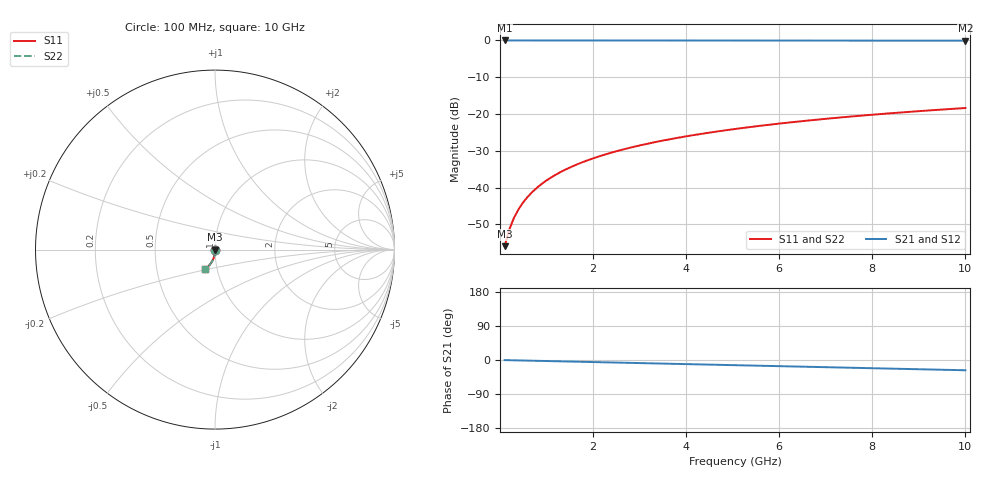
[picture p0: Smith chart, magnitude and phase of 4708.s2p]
# Hz S RI R 50.00
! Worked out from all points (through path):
!   100 points, 100 MHz to 10 GHz, reference 50 ohm
!   highest |S21| = -0.01 dB at 100 MHz (marker M1); lowest = -0.1 dB at 10 GHz (marker M2)
!   group delay of S21, straight-line fit = 7.53 ps
!   lowest |S11| = -55.9 dB at 100 MHz (marker M3), VSWR 1.00, Z = 50.1 - j0.126 ohm
!   |S11| at or under -10 dB: start of sweep to end of sweep
!   |S22| runs from -55.9 to -18.4 dB; largest |S21 - S12| = 0
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1e8  0.001 -0.00125  0.999 -0.00472  0.999 -0.00472  0.001 -0.00125
2e8  0.000987 -0.00251  0.9989 -0.00944  0.9989 -0.00944  0.000987 -0.00251
3e8  0.000959 -0.00376  0.9989 -0.0142  0.9989 -0.0142  0.000959 -0.00376
4e8  0.000919 -0.00501  0.9988 -0.0189  0.9988 -0.0189  0.000919 -0.00501
5e8  0.000867 -0.00626  0.9987 -0.0236  0.9987 -0.0236  0.000867 -0.00626
6e8  0.000802 -0.00751  0.9985 -0.0283  0.9985 -0.0283  0.000802 -0.00751
7e8  0.000725 -0.00877  0.9984 -0.033  0.9984 -0.033  0.000725 -0.00877
8e8  0.000637 -0.01  0.9982 -0.0377  0.9982 -0.0377  0.000637 -0.01
9e8  0.000536 -0.0113  0.998 -0.0425  0.998 -0.0425  0.000536 -0.0113
1.1e9  0.000299 -0.0138  0.9975 -0.0519  0.9975 -0.0519  0.000299 -0.0138
1.4e9  -0.000146 -0.0175  0.9966 -0.066  0.9966 -0.066  -0.000146 -0.0175
1.8e9  -0.000905 -0.0225  0.995 -0.0848  0.995 -0.0848  -0.000905 -0.0225
2.1e9  -0.0016 -0.0262  0.9936 -0.0989  0.9936 -0.0989  -0.0016 -0.0262
2.5e9  -0.00268 -0.0311  0.9914 -0.1177  0.9914 -0.1177  -0.00268 -0.0311
2.9e9  -0.00395 -0.0359  0.9888 -0.1364  0.9888 -0.1364  -0.00395 -0.0359
3.4e9  -0.0058 -0.0419  0.9851 -0.1597  0.9851 -0.1597  -0.0058 -0.0419
4.2e9  -0.00934 -0.0514  0.9778 -0.1967  0.9778 -0.1967  -0.00934 -0.0514
5.1e9  -0.0142 -0.0616  0.9679 -0.238  0.9679 -0.238  -0.0142 -0.0616
5.9e9  -0.0192 -0.0704  0.9575 -0.2743  0.9575 -0.2743  -0.0192 -0.0704
6.7e9  -0.0248 -0.0787  0.9457 -0.3101  0.9457 -0.3101  -0.0248 -0.0787
8.4e9  -0.0388 -0.0949  0.916 -0.3843  0.916 -0.3843  -0.0388 -0.0949
1e10  -0.0542 -0.1078  0.8824 -0.4514  0.8824 -0.4514  -0.0542 -0.1078
